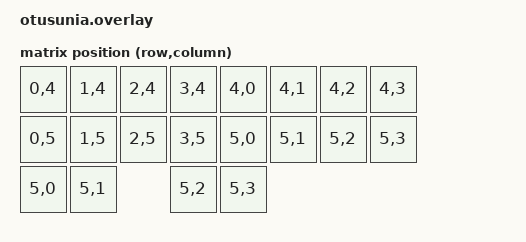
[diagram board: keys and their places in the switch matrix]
#include <dt-bindings/zmk/matrix_transform.h>

/ {
	chosen {
		zmk,kscan = &kscan0;
		zmk,matrix_transform = &default_transform;
	};
	
	kscan0: kscan {
		compatible = "zmk,kscan-gpio-charlieplex";
		label = "KSCAN";

        
        	gpios
          	= <&xiao_d 0 (GPIO_ACTIVE_HIGH | GPIO_PULL_DOWN) >
          	, <&xiao_d 1 (GPIO_ACTIVE_HIGH | GPIO_PULL_DOWN) >
          	, <&xiao_d 2 (GPIO_ACTIVE_HIGH | GPIO_PULL_DOWN) >
          	, <&xiao_d 3 (GPIO_ACTIVE_HIGH | GPIO_PULL_DOWN) >
		, <&xiao_d 4 (GPIO_ACTIVE_HIGH | GPIO_PULL_DOWN) >
          	, <&xiao_d 5 (GPIO_ACTIVE_HIGH | GPIO_PULL_DOWN) >
	  	;
	};


	default_transform: keymap_transform_0 {
		compatible = "zmk,matrix-transform";
		rows = <3>;
		columns = <8>;
		map = <
			RC(0,4) RC(1,4) RC(2,4) RC(3,4) RC(4,0) RC(4,1) RC(4,2) RC(4,3)   
			RC(0,5) RC(1,5) RC(2,5) RC(3,5) RC(5,0) RC(5,1) RC(5,2) RC(5,3)
				RC(5,0) RC(5,1) 	RC(5,2) RC(5,3)
		>;
	};

};

&pinctrl {
    spi0_default: spi0_default {

		group1 {
			psels = <NRF_PSEL(SPIM_SCK, 1, 13)>,
				<NRF_PSEL(SPIM_MOSI, 1, 14)>,
				<NRF_PSEL(SPIM_MISO, 1, 14)>;
		};
    };

    spi0_sleep: spi0_sleep {
        group1 {
			psels = <NRF_PSEL(SPIM_SCK, 1, 13)>,
				<NRF_PSEL(SPIM_MOSI, 1, 14)>,
				<NRF_PSEL(SPIM_MISO, 1, 14)>;
			low-power-enable;
		};
    };
};

&uart0 {
	status = "disabled";
};

&spi0 {
    status = "okay";
    compatible = "nordic,nrf-spim";
    pinctrl-0 = <&spi0_default>;
    pinctrl-1 = <&spi0_sleep>;
    pinctrl-names = "default", "sleep";
    cs-gpios = <&xiao_d 7 GPIO_ACTIVE_LOW>;

    trackball: trackball@0 {
        status = "okay";
        compatible = "pixart,pmw3610";
        reg = <0>;
        spi-max-frequency = <2000000>;
        irq-gpios = <&xiao_d 6 (GPIO_ACTIVE_LOW | GPIO_PULL_UP)>;
	duplex = <2048>; // required by 3-wire spi

        /*   optional features   */
        // snipe-layers = <1>;
        scroll-layers = <1 3 6>;
        //automouse-layer = <2>;
    };
};

/ {
  trackball_listener {
    compatible = "zmk,input-listener";
    device = <&trackball>;

  };
}; 

